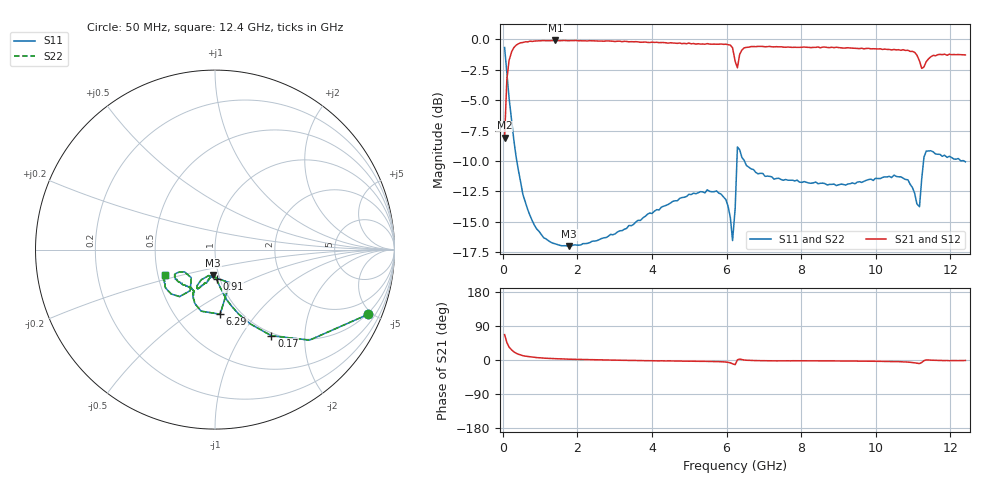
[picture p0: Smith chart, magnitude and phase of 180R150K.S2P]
!  American Technical Ceramics  Date:  3/13/98
!  One Norden Lane
!  Huntington Station,  NY.  11746-2102
!  Tel:  (516) 547-5700  Fax:  (516) 547-5748
!  Part Number  180r150k
!  Description: Porcelain, High Q, Low ESR
!  Application: Bypass, Coupling, Timing, Feedback
!  Tuning, Impedance Match, Blocking
# GHZ S DB R 50
! Freq  |S11|  S11 Ph  |S21|  S21 Ph  |S12|  S12 Ph  |S22|  S22 Ph
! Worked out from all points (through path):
!   201 points, 50 MHz to 12.4 GHz, reference 50 ohm
!   highest |S21| = -0.08 dB at 1.41 GHz (marker M1); lowest = -8.1 dB at 50 MHz (marker M2)
!   group delay of S21, straight-line fit = 3.05 ps
!   lowest |S11| = -17.0 dB at 1.78 GHz (marker M3), VSWR 1.33, Z = 47.2 - j13.5 ohm
!   |S11| at or under -10 dB: 377.1 MHz to 6.276 GHz (5.899 GHz wide, 177 % of centre); 6.477 GHz to 11.28 GHz (4.802 GHz wide, 54.1 % of centre); 12.28 GHz to 12.28 GHz (0 Hz wide, 0 % of centre)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
!   |S22| runs from -17.0 to -0.7 dB; largest |S21 - S12| = 0
!   S11 on the Smith chart (normalised r, x): 50 MHz: 0.93, -4.77; 170 MHz: 0.96, -1.37; 910 MHz: 0.96, -0.33; 6.29 GHz: 0.81, -0.67; 12.4 GHz: 0.54, -0.17
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0.05  -0.66 -22.9  -8.09 67.0  -8.09 67.0  -0.66 -22.9
0.11  -2.74 -43.7  -3.30 46.2  -3.30 46.2  -2.74 -43.7
0.17  -4.82 -56.8  -1.72 33.9  -1.72 33.9  -4.82 -56.8
0.3  -8.35 -69.9  -0.66 21.4  -0.66 21.4  -8.35 -69.9
0.42  -10.78 -76.7  -0.35 15.2  -0.35 15.2  -10.78 -76.7
0.91  -15.60 -86.8  -0.12 6.4  -0.12 6.4  -15.60 -86.8
1.41  -16.83 -91.3  -0.08 3.5  -0.08 3.5  -16.83 -91.3
1.78  -17.02 -93.8  -0.10 2.1  -0.10 2.1  -17.02 -93.8
2.15  -16.81 -95.5  -0.11 1.3  -0.11 1.3  -16.81 -95.5
4.19  -14.04 -108.0  -0.26 -2.4  -0.26 -2.4  -14.04 -108.0
5.98  -13.18 -116.2  -0.39 -5.4  -0.39 -5.4  -13.18 -116.2
6.16  -16.56 -103.5  -0.69 -9.9  -0.69 -9.9  -16.56 -103.5
6.23  -13.89 -66.0  -1.81 -12.3  -1.81 -12.3  -13.89 -66.0
6.29  -8.85 -85.5  -2.33 0.4  -2.33 0.4  -8.85 -85.5
6.35  -9.08 -102.7  -1.22 2.4  -1.22 2.4  -9.08 -102.7
6.47  -9.95 -110.9  -0.69 -0.1  -0.69 -0.1  -9.95 -110.9
8.32  -11.81 -118.2  -0.65 -2.2  -0.65 -2.2  -11.81 -118.2
10.36  -11.27 -141.3  -0.82 -3.9  -0.82 -3.9  -11.27 -141.3
10.86  -11.56 -148.4  -0.89 -5.5  -0.89 -5.5  -11.56 -148.4
11.17  -13.77 -130.2  -1.77 -9.4  -1.77 -9.4  -13.77 -130.2
11.35  -9.19 -134.5  -1.83 0.3  -1.83 0.3  -9.19 -134.5
12.4  -10.07 -152.9  -1.27 -1.3  -1.27 -1.3  -10.07 -152.9
